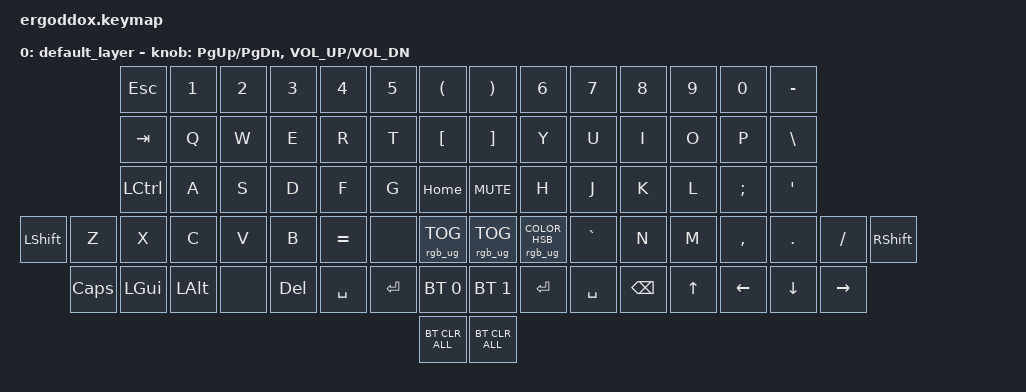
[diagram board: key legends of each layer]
#include <behaviors.dtsi>
#include <dt-bindings/zmk/keys.h>
#include <dt-bindings/zmk/rgb.h>
#include <dt-bindings/zmk/bt.h>

/ {

    keymap {
        compatible = "zmk,keymap";

        default_layer {
            bindings = <
                &kp ESC &kp N1 &kp N2 &kp N3 &kp N4 &kp N5 &kp LPAR &kp RPAR &kp N6 &kp N7 &kp N8 &kp N9 &kp N0 &kp MINUS
                &kp TAB &kp Q &kp W &kp E &kp R &kp T &kp LBKT &kp RBKT &kp Y &kp U &kp I &kp O &kp P &kp BSLH
                &kp LCTRL &kp A &kp S &kp D &kp F &kp G &kp HOME &kp C_MUTE &kp H &kp J &kp K &kp L &kp SEMI &kp SQT
                &kp LSHFT &kp Z &kp X &kp C &kp V &kp B &kp EQUAL &none &rgb_ug RGB_TOG &rgb_ug RGB_TOG &rgb_ug RGB_COLOR_HSB(128,100,100) &kp GRAVE &kp N &kp M &kp COMMA &kp DOT &kp FSLH &kp RSHFT
                &kp CLCK &kp LGUI &kp LALT &none &kp DEL &kp SPACE &kp ENTER &bt BT_SEL 0 &bt BT_SEL 1 &kp ENTER &kp SPACE &kp BSPC &kp UP &kp LEFT &kp DOWN &kp RIGHT
                &bt BT_CLR_ALL &bt BT_CLR_ALL
            >;

            sensor-bindings = <&inc_dec_kp PG_UP PG_DN &inc_dec_kp C_VOL_UP C_VOL_DN>;
        };
    };
};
